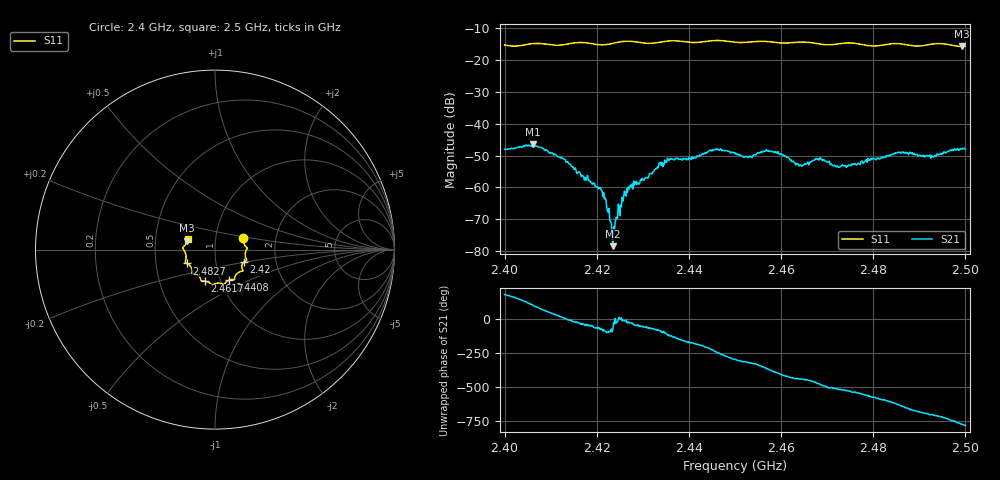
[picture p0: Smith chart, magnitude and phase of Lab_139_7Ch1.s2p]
# Hz S RI R 50
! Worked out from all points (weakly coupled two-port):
!   601 points, 2.4 GHz to 2.5 GHz, reference 50 ohm
!   highest |S21| = -46.53 dB at 2.4062 GHz (marker M1); lowest = -78.4 dB at 2.4235 GHz (marker M2)
!   lowest |S11| = -15.8 dB at 2.4992 GHz (marker M3), VSWR 1.39, Z = 36.4 + j3.66 ohm
!   |S11| at or under -10 dB: start of sweep to end of sweep
!   S12 and S22 are empty: the file has one direction only
!   S11 on the Smith chart (normalised r, x): 2.4 GHz: 1.36, +0.18; 2.42 GHz: 1.36, -0.20; 2.4408 GHz: 1.10, -0.39; 2.4617 GHz: 0.84, -0.31; 2.4827 GHz: 0.72, -0.11; 2.5 GHz: 0.73, +0.09
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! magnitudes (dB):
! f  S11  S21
! 2.4 GHz  -15.4  -48.0
! 2.4062 GHz  -14.9  -46.5
! 2.4127 GHz  -15.3  -50.9
! 2.4167 GHz  -14.5  -56.6
! 2.42 GHz  -15.2  -59.9
! 2.4215 GHz  -15.3  -61.7
! 2.4235 GHz  -14.8  -78.4
! 2.427 GHz  -14.1  -60.5
! 2.4333 GHz  -14.5  -53.8
! 2.4408 GHz  -14.5  -51.0
! 2.4458 GHz  -13.9  -48.0
! 2.45 GHz  -14.4  -49.5
! 2.4573 GHz  -14.3  -48.4
! 2.4617 GHz  -14.7  -50.8
! 2.4643 GHz  -14.4  -53.1
! 2.4667 GHz  -14.6  -51.8
! 2.4725 GHz  -15.0  -53.7
! 2.4827 GHz  -15.2  -50.6
! 2.4833 GHz  -15.0  -50.0
! 2.493 GHz  -15.0  -50.5
! 2.4992 GHz  -15.8  -47.9
! 2.5 GHz  -15.7  -48.1
